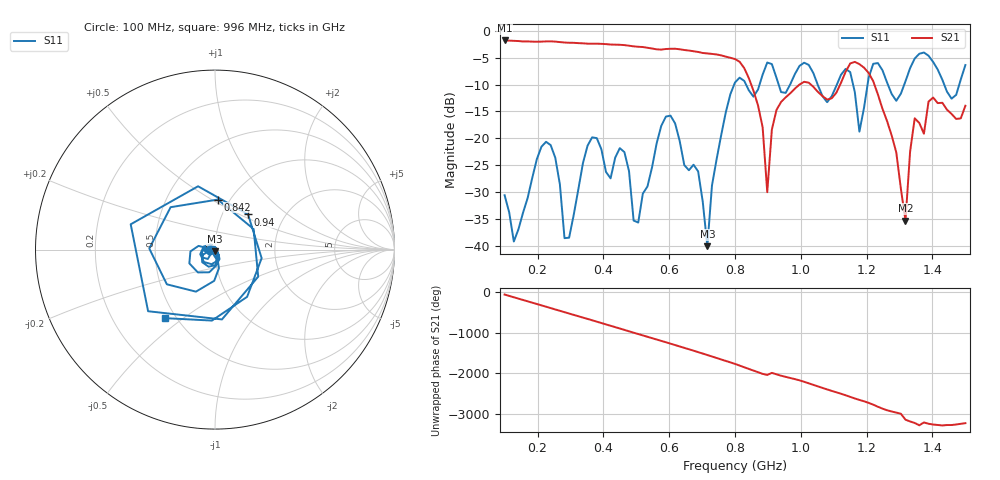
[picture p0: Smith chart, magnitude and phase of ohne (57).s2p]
! NanoVNA-App
! Date: 2025-09-26 09:55:50
! Start: 100MHz Stop: 1,5GHz Points: 101
! S-Parameter data: F S11 S21 S12 S22
# Hz S RI R 50
!  Frequency  S11_Real  S11_Imag  S21_Real  S21_Imag  S12_Real  S12_Imag  S22_Real  S22_Imag
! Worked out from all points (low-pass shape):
!   101 points, 100 MHz to 1.5 GHz, reference 50 ohm
!   highest |S21| = -1.79 dB at 100 MHz (marker M1); lowest = -35.3 dB at 1.318 GHz (marker M2)
!   |S21| within 3 dB of the highest: start of sweep to 771.1 MHz
!   lowest |S11| = -40.1 dB at 716 MHz (marker M3), VSWR 1.02, Z = 49.8 - j0.97 ohm
!   |S11| at or under -10 dB: start of sweep to 797.5 MHz; 833.4 MHz to 874.7 MHz (41.29 MHz wide, 4.83 % of centre); 1.051 GHz to 1.11 GHz (58.52 MHz wide, 5.42 % of centre) (the widest 3 of 7)
!   S12 and S22 are empty: the file has one direction only
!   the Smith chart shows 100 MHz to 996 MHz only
!   S11 on the Smith chart (normalised r, x): 100 MHz: 0.94, -0.01; 842 MHz: 0.88, +0.53; 940 MHz: 1.32, +0.56; 996 MHz: 0.44, -0.43
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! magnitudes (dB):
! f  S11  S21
! 100 MHz  -30.6  -1.8
! 128 MHz  -39.3  -1.9
! 226 MHz  -20.7  -2.0
! 296 MHz  -38.5  -2.2
! 338 MHz  -24.7  -2.3
! 464 MHz  -22.6  -2.7
! 506 MHz  -35.7  -3.0
! 576 MHz  -17.7  -3.5
! 688 MHz  -26.2  -3.9
! 716 MHz  -40.1  -4.2
! 800 MHz  -9.6  -5.3
! 842 MHz  -11.1  -8.8
! 898 MHz  -5.9  -30.1
! 940 MHz  -11.4  -13.2
! 996 MHz  -6.5  -10.0
! 1.038 GHz  -7.9  -10.4
! 1.178 GHz  -18.8  -6.2
! 1.22 GHz  -6.1  -9.4
! 1.276 GHz  -11.8  -19.5
! 1.318 GHz  -9.4  -35.3
! 1.346 GHz  -5.2  -16.3
! 1.5 GHz  -6.4  -14.0
